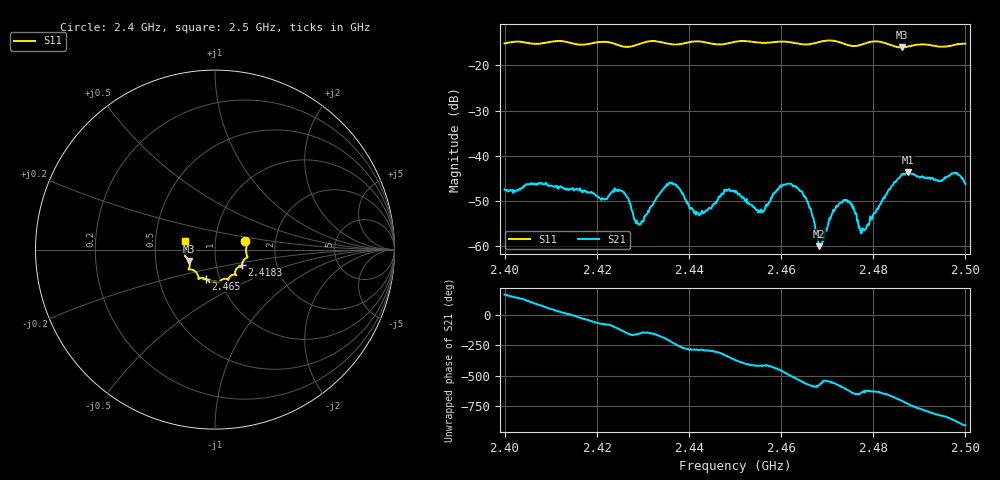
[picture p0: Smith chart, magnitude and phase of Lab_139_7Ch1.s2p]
# Hz S RI R 50
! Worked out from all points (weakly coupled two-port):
!   601 points, 2.4 GHz to 2.5 GHz, reference 50 ohm
!   highest |S21| = -43.71 dB at 2.4875 GHz (marker M1); lowest = -60.0 dB at 2.4682 GHz (marker M2)
!   lowest |S11| = -16.0 dB at 2.4862 GHz (marker M3), VSWR 1.37, Z = 37.1 - j4.81 ohm
!   |S11| at or under -10 dB: start of sweep to end of sweep
!   S12 and S22 are empty: the file has one direction only
!   S11 on the Smith chart (normalised r, x): 2.4 GHz: 1.40, +0.13; 2.4183 GHz: 1.33, -0.24; 2.465 GHz: 0.86, -0.29; 2.5 GHz: 0.71, +0.07
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2.4e9  0.1689 0.0458  -0.00408 0.00116  0 0  0 0
2.416667e9  0.1549 -0.0681  0.00356 -0.00201  0 0  0 0
2.418333e9  0.1499 -0.0866  0.00264 -0.00288  0 0  0 0
2.425333e9  0.131 -0.0977  -0.00245 -0.00328  0 0  0 0
2.429e9  0.1122 -0.1289  -0.00162 -0.000626  0 0  0 0
2.433333e9  0.1168 -0.1412  -0.00357 -0.0006  0 0  0 0
2.436667e9  0.0932 -0.1426  -0.0029 0.00384  0 0  0 0
2.442e9  0.0737 -0.1688  0.000824 0.00216  0 0  0 0
2.45e9  0.025 -0.1806  0.00389 -0.000666  0 0  0 0
2.4555e9  0.00335 -0.178  0.00127 -0.00202  0 0  0 0
2.460333e9  -0.0288 -0.1812  -0.00107 -0.00455  0 0  0 0
2.465e9  -0.0528 -0.1619  -0.00342 0.000827  0 0  0 0
2.466667e9  -0.0714 -0.1575  -0.00168 0.00151  0 0  0 0
2.468167e9  -0.0849 -0.1598  -0.000792 0.000606  0 0  0 0
2.473167e9  -0.0929 -0.1509  -0.00185 0.00238  0 0  0 0
2.475167e9  -0.103 -0.1286  0.00012 0.00289  0 0  0 0
2.477833e9  -0.1312 -0.1114  8.99e-05 0.00153  0 0  0 0
2.483333e9  -0.1419 -0.0957  0.00194 0.00369  0 0  0 0
2.486167e9  -0.1446 -0.0633  0.00598 0.00178  0 0  0 0
2.4875e9  -0.1533 -0.0505  0.00645 -0.000971  0 0  0 0
2.497833e9  -0.1659 0.0345  -0.00542 -0.00329  0 0  0 0
2.5e9  -0.167 0.0473  -0.00484 0.000499  0 0  0 0
